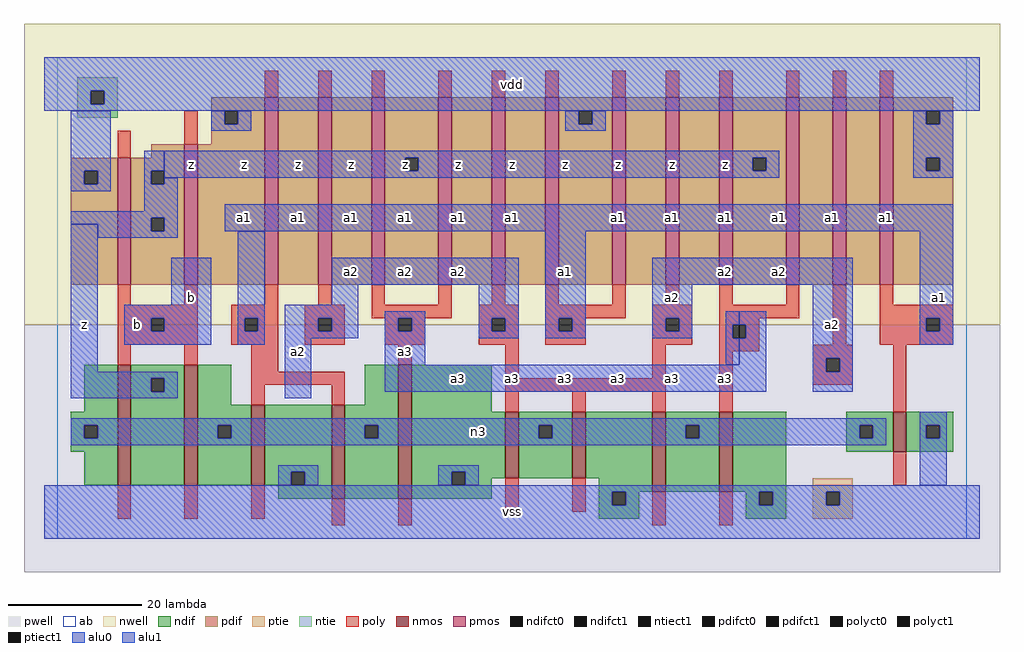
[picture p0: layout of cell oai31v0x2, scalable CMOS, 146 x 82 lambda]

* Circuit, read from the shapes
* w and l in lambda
.subckt oai31v0x2 a1 a2 a3 b n3 vdd vss z
M1 z b n3 vss nfet w=18 l=2 m=2
M2 vss a1 n3 vss nfet w=12 l=2
M3 n3 a1 vss vss nfet w=14 l=2
M4 vss a3 n3 vss nfet w=20 l=2
M5 n3 a2 vss vss nfet w=10 l=2 m=2
M6 n3 a2 vss vss nfet w=12 l=2
M7 vss a3 n3 vss nfet w=12 l=2
M8 vss a1 n3 vss nfet w=6 l=2
M9 z b vdd vdd pfet w=19 l=2
M10 vdd b z vdd pfet w=21 l=2
M11 n1 a1 vdd vdd pfet w=28 l=2
M12 n2 a2 n1 vdd pfet w=28 l=2
M13 z a3 n2 vdd pfet w=28 l=2
M14 n4 a3 z vdd pfet w=28 l=2
M15 n5 a2 n4 vdd pfet w=28 l=2
M16 vdd a1 n5 vdd pfet w=28 l=2
M17 n6 a1 vdd vdd pfet w=28 l=2
M18 n7 a2 n6 vdd pfet w=28 l=2
M19 z a3 n7 vdd pfet w=28 l=2
M20 n8 a3 z vdd pfet w=28 l=2
M21 n9 a2 n8 vdd pfet w=28 l=2
M22 vdd a1 n9 vdd pfet w=28 l=2
.ends

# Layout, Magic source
magic
tech scmos
<< ab >>
rect 0 0 136 72
<< nwell >>
rect -5 32 141 77
<< pwell >>
rect -5 -5 141 32
<< poly >>
rect 31 66 33 70
rect 39 66 41 70
rect 47 66 49 70
rect 57 66 59 70
rect 65 66 67 70
rect 73 66 75 70
rect 83 66 85 70
rect 91 66 93 70
rect 99 66 101 70
rect 109 66 111 70
rect 116 66 118 70
rect 123 66 125 70
rect 9 57 11 61
rect 19 59 21 64
rect 9 35 11 38
rect 19 35 21 38
rect 31 35 33 38
rect 39 35 41 38
rect 47 35 49 38
rect 57 35 59 38
rect 65 35 67 38
rect 73 35 75 38
rect 83 35 85 38
rect 91 35 93 38
rect 99 35 101 38
rect 109 35 111 38
rect 9 33 21 35
rect 9 31 14 33
rect 16 31 21 33
rect 9 29 21 31
rect 26 33 33 35
rect 26 31 28 33
rect 30 31 33 33
rect 26 29 33 31
rect 37 33 43 35
rect 47 33 59 35
rect 63 33 69 35
rect 37 31 39 33
rect 41 31 43 33
rect 37 29 43 31
rect 49 31 51 33
rect 53 31 55 33
rect 49 29 55 31
rect 63 31 65 33
rect 67 31 69 33
rect 63 29 69 31
rect 73 33 85 35
rect 89 33 95 35
rect 73 31 75 33
rect 77 31 79 33
rect 73 29 79 31
rect 89 31 91 33
rect 93 31 95 33
rect 89 29 95 31
rect 99 33 111 35
rect 99 32 105 33
rect 99 30 101 32
rect 103 30 105 32
rect 9 26 11 29
rect 19 26 21 29
rect 29 25 33 29
rect 51 26 53 29
rect 29 23 43 25
rect 29 20 31 23
rect 41 20 43 23
rect 9 3 11 8
rect 19 3 21 8
rect 29 3 31 8
rect 67 24 69 29
rect 89 24 91 29
rect 67 22 91 24
rect 67 19 69 22
rect 77 19 79 22
rect 89 19 91 22
rect 99 28 105 30
rect 116 29 118 38
rect 123 35 125 38
rect 123 33 134 35
rect 123 31 130 33
rect 132 31 134 33
rect 123 29 134 31
rect 99 19 101 28
rect 113 27 119 29
rect 113 25 115 27
rect 117 25 119 27
rect 113 23 119 25
rect 125 19 127 29
rect 41 2 43 6
rect 51 2 53 6
rect 67 4 69 9
rect 77 4 79 9
rect 89 2 91 7
rect 99 2 101 7
rect 125 8 127 13
<< ndif >>
rect 4 19 9 26
rect 2 17 9 19
rect 2 15 4 17
rect 6 15 9 17
rect 2 13 9 15
rect 4 8 9 13
rect 11 24 19 26
rect 11 22 14 24
rect 16 22 19 24
rect 11 8 19 22
rect 21 20 26 26
rect 46 20 51 26
rect 21 17 29 20
rect 21 15 24 17
rect 26 15 29 17
rect 21 8 29 15
rect 31 10 41 20
rect 31 8 35 10
rect 37 8 41 10
rect 33 6 41 8
rect 43 17 51 20
rect 43 15 46 17
rect 48 15 51 17
rect 43 6 51 15
rect 53 19 65 26
rect 53 10 67 19
rect 53 8 59 10
rect 61 9 67 10
rect 69 17 77 19
rect 69 15 72 17
rect 74 15 77 17
rect 69 9 77 15
rect 79 9 89 19
rect 61 8 65 9
rect 53 6 65 8
rect 81 7 89 9
rect 91 17 99 19
rect 91 15 94 17
rect 96 15 99 17
rect 91 7 99 15
rect 101 7 109 19
rect 118 17 125 19
rect 118 15 120 17
rect 122 15 125 17
rect 118 13 125 15
rect 127 17 134 19
rect 127 15 130 17
rect 132 15 134 17
rect 127 13 134 15
rect 81 5 83 7
rect 85 5 87 7
rect 81 3 87 5
rect 103 5 105 7
rect 107 5 109 7
rect 103 3 109 5
<< pdif >>
rect 23 64 31 66
rect 23 62 25 64
rect 27 62 31 64
rect 23 59 31 62
rect 14 57 19 59
rect 2 55 9 57
rect 2 53 4 55
rect 6 53 9 55
rect 2 38 9 53
rect 11 55 19 57
rect 11 53 14 55
rect 16 53 19 55
rect 11 48 19 53
rect 11 46 14 48
rect 16 46 19 48
rect 11 38 19 46
rect 21 38 31 59
rect 33 38 39 66
rect 41 38 47 66
rect 49 57 57 66
rect 49 55 52 57
rect 54 55 57 57
rect 49 38 57 55
rect 59 38 65 66
rect 67 38 73 66
rect 75 64 83 66
rect 75 62 78 64
rect 80 62 83 64
rect 75 38 83 62
rect 85 38 91 66
rect 93 38 99 66
rect 101 57 109 66
rect 101 55 104 57
rect 106 55 109 57
rect 101 38 109 55
rect 111 38 116 66
rect 118 38 123 66
rect 125 64 134 66
rect 125 62 130 64
rect 132 62 134 64
rect 125 57 134 62
rect 125 55 130 57
rect 132 55 134 57
rect 125 38 134 55
<< alu1 >>
rect -2 67 138 72
rect -2 65 5 67
rect 7 65 138 67
rect -2 64 138 65
rect 16 57 108 58
rect 16 55 52 57
rect 54 55 104 57
rect 106 55 108 57
rect 16 54 108 55
rect 2 25 6 47
rect 25 46 134 50
rect 17 35 23 42
rect 10 33 23 35
rect 10 31 14 33
rect 16 31 23 33
rect 10 29 23 31
rect 41 38 69 42
rect 41 35 45 38
rect 34 33 45 35
rect 34 31 39 33
rect 41 31 45 33
rect 34 30 45 31
rect 49 33 55 34
rect 49 31 51 33
rect 53 31 55 33
rect 2 24 18 25
rect 2 22 14 24
rect 16 22 18 24
rect 2 21 18 22
rect 34 21 38 30
rect 49 26 55 31
rect 63 33 69 38
rect 63 31 65 33
rect 67 31 69 33
rect 63 30 69 31
rect 73 33 79 46
rect 73 31 75 33
rect 77 31 79 33
rect 73 30 79 31
rect 89 38 119 42
rect 89 33 95 38
rect 89 31 91 33
rect 93 31 95 33
rect 89 30 95 31
rect 102 32 106 34
rect 103 30 106 32
rect 102 26 106 30
rect 49 22 106 26
rect 113 27 119 38
rect 129 33 134 46
rect 129 31 130 33
rect 132 31 134 33
rect 129 29 134 31
rect 113 25 115 27
rect 117 25 119 27
rect 113 22 119 25
rect -2 7 138 8
rect -2 5 83 7
rect 85 5 105 7
rect 107 5 115 7
rect 117 5 138 7
rect -2 0 138 5
<< ptie >>
rect 113 7 119 9
rect 113 5 115 7
rect 117 5 119 7
rect 113 3 119 5
<< ntie >>
rect 3 67 9 69
rect 3 65 5 67
rect 7 65 9 67
rect 3 63 9 65
<< nmos >>
rect 9 8 11 26
rect 19 8 21 26
rect 29 8 31 20
rect 41 6 43 20
rect 51 6 53 26
rect 67 9 69 19
rect 77 9 79 19
rect 89 7 91 19
rect 99 7 101 19
rect 125 13 127 19
<< pmos >>
rect 9 38 11 57
rect 19 38 21 59
rect 31 38 33 66
rect 39 38 41 66
rect 47 38 49 66
rect 57 38 59 66
rect 65 38 67 66
rect 73 38 75 66
rect 83 38 85 66
rect 91 38 93 66
rect 99 38 101 66
rect 109 38 111 66
rect 116 38 118 66
rect 123 38 125 66
<< polyct0 >>
rect 28 31 30 33
rect 101 30 102 32
<< polyct1 >>
rect 14 31 16 33
rect 39 31 41 33
rect 51 31 53 33
rect 65 31 67 33
rect 75 31 77 33
rect 91 31 93 33
rect 102 30 103 32
rect 130 31 132 33
rect 115 25 117 27
<< ndifct0 >>
rect 4 15 6 17
rect 24 15 26 17
rect 35 8 37 10
rect 46 15 48 17
rect 59 8 61 10
rect 72 15 74 17
rect 94 15 96 17
rect 120 15 122 17
rect 130 15 132 17
<< ndifct1 >>
rect 14 22 16 24
rect 83 5 85 7
rect 105 5 107 7
<< ntiect1 >>
rect 5 65 7 67
<< ptiect1 >>
rect 115 5 117 7
<< pdifct0 >>
rect 25 62 27 64
rect 4 53 6 55
rect 14 53 16 55
rect 14 46 16 48
rect 78 62 80 64
rect 130 62 132 64
rect 130 55 132 57
<< pdifct1 >>
rect 52 55 54 57
rect 104 55 106 57
<< alu0 >>
rect 2 55 8 64
rect 23 62 25 64
rect 27 62 29 64
rect 23 61 29 62
rect 76 62 78 64
rect 80 62 82 64
rect 76 61 82 62
rect 128 62 130 64
rect 132 62 134 64
rect 2 53 4 55
rect 6 53 8 55
rect 2 52 8 53
rect 13 55 16 58
rect 13 53 14 55
rect 128 57 134 62
rect 128 55 130 57
rect 132 55 134 57
rect 128 54 134 55
rect 16 53 18 54
rect 13 49 18 53
rect 2 48 18 49
rect 2 47 14 48
rect 6 46 14 47
rect 16 46 18 48
rect 6 45 18 46
rect 27 33 31 46
rect 27 31 28 33
rect 30 31 31 33
rect 27 29 31 31
rect 100 32 102 34
rect 100 30 101 32
rect 100 26 102 30
rect 2 17 124 18
rect 2 15 4 17
rect 6 15 24 17
rect 26 15 46 17
rect 48 15 72 17
rect 74 15 94 17
rect 96 15 120 17
rect 122 15 124 17
rect 2 14 124 15
rect 129 17 133 19
rect 129 15 130 17
rect 132 15 133 17
rect 33 10 39 11
rect 33 8 35 10
rect 37 8 39 10
rect 57 10 63 11
rect 57 8 59 10
rect 61 8 63 10
rect 129 8 133 15
<< labels >>
rlabel alu0 63 16 63 16 6 n3
rlabel alu1 12 32 12 32 6 b
rlabel alu1 4 32 4 32 6 z
rlabel alu1 20 36 20 36 6 b
rlabel alu1 20 56 20 56 6 z
rlabel alu1 36 28 36 28 6 a2
rlabel alu1 44 40 44 40 6 a2
rlabel alu1 28 48 28 48 6 a1
rlabel alu1 36 48 36 48 6 a1
rlabel alu1 44 48 44 48 6 a1
rlabel alu1 36 56 36 56 6 z
rlabel alu1 44 56 44 56 6 z
rlabel alu1 28 56 28 56 6 z
rlabel alu1 68 4 68 4 6 vss
rlabel alu1 60 24 60 24 6 a3
rlabel alu1 68 24 68 24 6 a3
rlabel alu1 76 24 76 24 6 a3
rlabel alu1 52 28 52 28 6 a3
rlabel alu1 52 40 52 40 6 a2
rlabel alu1 76 40 76 40 6 a1
rlabel alu1 60 40 60 40 6 a2
rlabel alu1 52 48 52 48 6 a1
rlabel alu1 60 48 60 48 6 a1
rlabel alu1 68 48 68 48 6 a1
rlabel alu1 60 56 60 56 6 z
rlabel alu1 68 56 68 56 6 z
rlabel alu1 76 56 76 56 6 z
rlabel alu1 52 56 52 56 6 z
rlabel alu1 68 68 68 68 6 vdd
rlabel alu1 84 24 84 24 6 a3
rlabel alu1 100 24 100 24 6 a3
rlabel alu1 92 24 92 24 6 a3
rlabel alu1 100 40 100 40 6 a2
rlabel alu1 108 40 108 40 6 a2
rlabel alu1 92 36 92 36 6 a2
rlabel alu1 84 48 84 48 6 a1
rlabel alu1 100 48 100 48 6 a1
rlabel alu1 108 48 108 48 6 a1
rlabel alu1 92 48 92 48 6 a1
rlabel alu1 100 56 100 56 6 z
rlabel alu1 92 56 92 56 6 z
rlabel alu1 84 56 84 56 6 z
rlabel alu1 116 32 116 32 6 a2
rlabel alu1 132 36 132 36 6 a1
rlabel alu1 116 48 116 48 6 a1
rlabel alu1 124 48 124 48 6 a1
<< end >>
